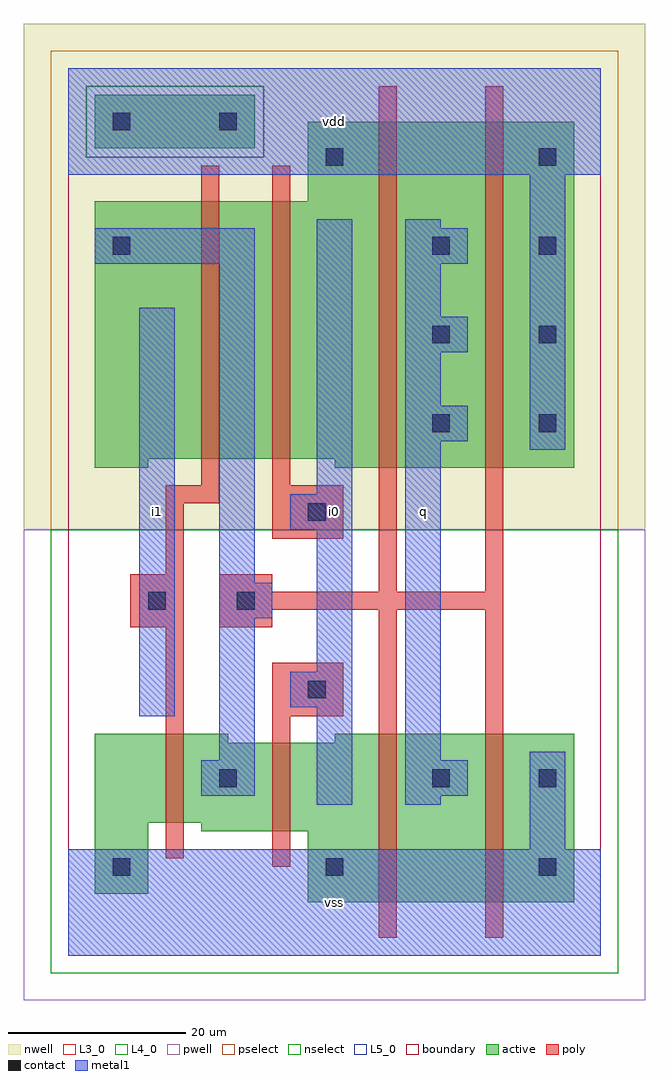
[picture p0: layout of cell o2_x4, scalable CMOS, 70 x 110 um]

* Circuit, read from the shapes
.subckt o2_x4 i0 i1 q vdd vss
M1 n1 i1 vss VSUBS nfet w=10u l=2u
M2 vss i0 n1 VSUBS nfet w=10u l=2u
M3 q n1 vss VSUBS nfet w=19u l=2u m=2
M4 n2 i1 n1 vdd pfet w=29u l=2u
M5 vdd i0 n2 vdd pfet w=29u l=2u
M6 q n1 vdd vdd pfet w=39u l=2u m=2
.ends

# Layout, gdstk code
import gdstk
lib = gdstk.Library(unit=1e-6, precision=1e-09)
def R(c, l, rs):  # rectangles x0, y0, x1, y1
    for r in rs: c.add(gdstk.rectangle(r[:2], r[2:], *l))
def A(c, l, x, y, w, h, nx, ny, dx, dy):  # array of equal rectangles
    R(c, l, [(x+i*dx, y+j*dy, x+i*dx+w, y+j*dy+h) for i in range(nx) for j in range(ny)])
L3_0 = (3, 0)
L4_0 = (4, 0)
L5_0 = (5, 0)
contact = (25, 0)
pwell = (41, 0)
nwell = (42, 0)
active = (43, 0)
pselect = (44, 0)
nselect = (45, 0)
poly = (46, 0)
metal1 = (49, 0)
boundary = (63, 0)

o2_x4 = lib.new_cell('o2_x4')
R(o2_x4, L3_0, [(27,6,57,14), (3,7,9,15), (15,14,57,15), (3,15,57,24), (3,24,18,25), (30,24,57,25)])
R(o2_x4, L4_0, [(3,55,9,56), (30,55,57,56), (3,56,57,85), (27,85,57,94)])
R(o2_x4, L5_0, [(3,91,21,97)])
A(o2_x4, contact, 5, 9, 2, 2, 3, 1, 24, 0)
A(o2_x4, contact, 41, 59, 2, 2, 1, 3, 0, 10)
A(o2_x4, contact, 53, 59, 2, 2, 1, 4, 0, 10)
R(o2_x4, contact, [(17,19,19,21), (41,19,43,21), (53,19,55,21), (27,29,29,31), (9,39,11,41), (19,39,21,41), (27,49,29,51), (5,79,7,81), (29,89,31,91), (5,93,7,95), (17,93,19,95)])
R(o2_x4, pwell, [(-5,-5,65,48)])
R(o2_x4, nwell, [(-5,48,65,105)])
R(o2_x4, active, [(27,6,57,14), (3,7,9,15), (15,14,57,15), (3,15,57,24), (3,24,18,25), (30,24,57,25), (3,55,9,56), (30,55,57,56), (3,56,57,85), (27,85,57,94), (3,91,21,97)])
R(o2_x4, pselect, [(-2,48,62,90), (-2,90,2,98), (22,90,62,98), (-2,98,62,102)])
R(o2_x4, nselect, [(-2,-2,62,48), (2,90,22,98)])
R(o2_x4, poly, [(35,2,37,39), (47,2,49,39), (23,10,25,27), (11,11,13,37), (23,27,31,33), (7,37,13,43), (17,37,23,39), (17,39,49,41), (17,41,23,43), (35,41,37,98), (47,41,49,98), (11,43,13,51), (23,47,31,53), (11,51,17,53), (15,53,17,89), (23,53,25,89)])
A(o2_x4, metal1, 38, 58, 7, 4, 1, 3, 0, 10)
R(o2_x4, metal1, [(0,0,60,12), (52,12,56,23), (28,17,32,28), (38,17,42,18), (15,18,21,22), (38,18,45,22), (17,22,21,38), (38,22,42,58), (8,27,12,73), (25,28,32,32), (28,32,32,48), (17,38,23,42), (17,42,21,78), (25,48,32,52), (28,52,32,83), (52,57,56,88), (38,62,42,68), (38,72,42,78), (3,78,21,82), (38,82,42,83), (0,88,60,100)])
R(o2_x4, boundary, [(0,0,60,100)])
o2_x4.add(gdstk.Label('i1', (10,50), layer=49, texttype=0))
o2_x4.add(gdstk.Label('vss', (30,6), layer=49, texttype=0))
o2_x4.add(gdstk.Label('q', (40,50), layer=49, texttype=0))
o2_x4.add(gdstk.Label('i0', (30,50), layer=49, texttype=0))
o2_x4.add(gdstk.Label('vdd', (30,94), layer=49, texttype=0))

lib.write_gds('o2_x4.gds')
